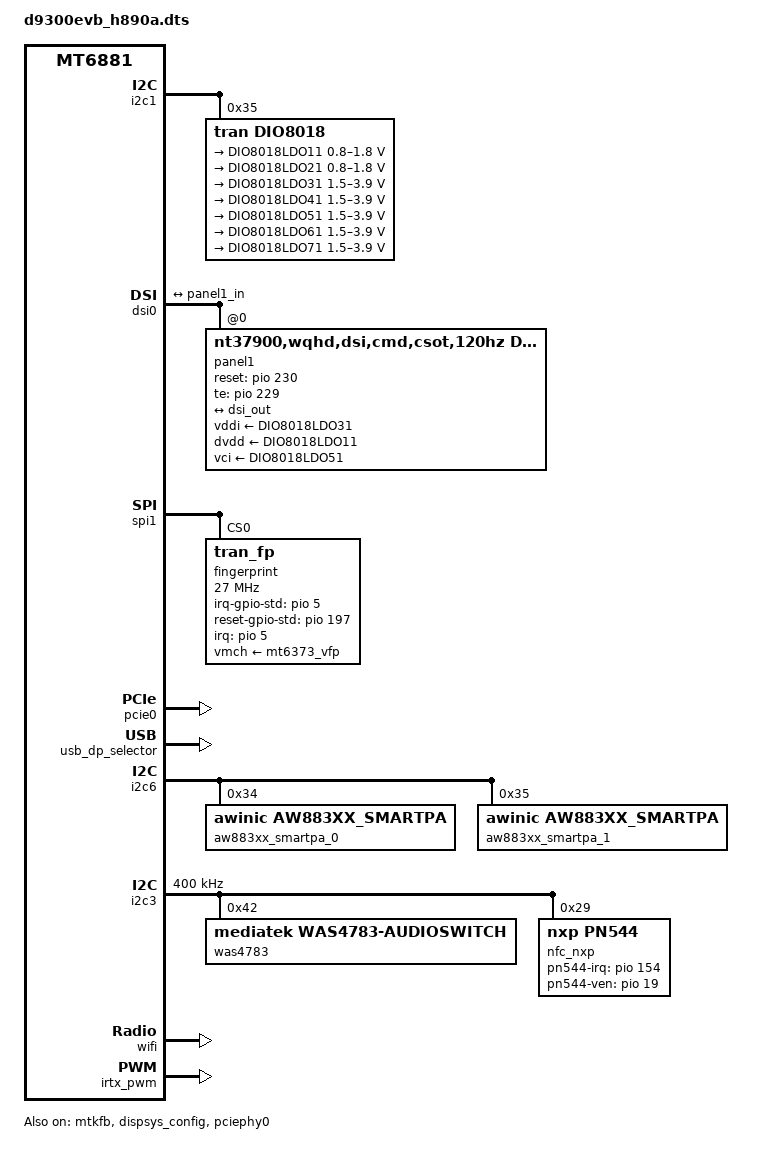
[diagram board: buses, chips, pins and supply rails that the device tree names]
// SPDX-License-Identifier: (GPL-2.0 OR MIT)
/*
 * Copyright (C) 2022 MediaTek Inc.
 */
/dts-v1/;
/plugin/;
#include <dt-bindings/interrupt-controller/arm-gic.h>
#include <dt-bindings/interrupt-controller/irq.h>
#include <dt-bindings/pinctrl/mt6989-pinfunc.h>
#include <dt-bindings/phy/phy.h>
#include <dt-bindings/iio/mt635x-auxadc.h>

&chosen {
bootargs_ext = "";

};

&md_auxadc{
    io-channels = <&pmic_adc (ADC_PURES_OPEN_MASK | AUXADC_VIN1)>;
};
&pdc {
	pd-vbus-upper-bound = <9000000>;
};

&mtk_leds {
	compatible = "mediatek,disp-leds";

	backlight {
		led-mode = <4>;
		gate-enable = <0>;
		pwm-config = <0 1 0 0 0>;
		max-brightness = <511>;
		min-brightness = <0>;
		max-hw-brightness = <511>;
	};
};

&pio {
	mtkfb_pins_lcm_rst_out1_gpio: lcm_rst_out1_gpio {
		pins_cmd_dat {
			pinmux = <PINMUX_GPIO230__FUNC_GPIO230>;
			slew-rate = <1>;
			output-high;
		};
	};

	mtkfb_pins_lcm_rst_out0_gpio: lcm_rst_out0_gpio {
		pins_cmd_dat {
			pinmux = <PINMUX_GPIO230__FUNC_GPIO230>;
			slew-rate = <1>;
			output-low;
		};
	};

/*
	mtkfb_pins_lcm_sub_rst_out1_gpio: lcm_sub_rst_out1_gpio {
		pins_cmd_dat {
			pinmux = <PINMUX_GPIO20__FUNC_GPIO20>;
			slew-rate = <1>;
			output-high;
		};
	};

	mtkfb_pins_lcm_sub_rst_out0_gpio: lcm_sub_rst_out0_gpio {
		pins_cmd_dat {
			pinmux = <PINMUX_GPIO20__FUNC_GPIO20>;
			slew-rate = <1>;
			output-low;
		};
	};
*/

	mtkfb_pins_lcm_dsi_te: lcm_dsi_te {
		pins_cmd_dat {
			pinmux = <PINMUX_GPIO229__FUNC_DSI_TE>;
		};
	};

/*
	mtkfb_pins_lcm_dsi1_te: lcm_dsi1_te {
		pins_cmd_dat {
			pinmux = <PINMUX_GPIO14__FUNC_DSI2_TE>;
		};
	};
*/
};

&mtkfb {
/*
	pinctrl-names = "lcm_rst_out1_gpio", "lcm_rst_out0_gpio",
		"lcm_sub_rst_out1_gpio", "lcm_sub_rst_out0_gpio",
		"mode_te_te", "mode_te_te1";
*/
	pinctrl-names = "lcm_rst_out1_gpio", "lcm_rst_out0_gpio", "mode_te_te";
	pinctrl-0 = <&mtkfb_pins_lcm_rst_out1_gpio>;
	pinctrl-1 = <&mtkfb_pins_lcm_rst_out0_gpio>;
	pinctrl-2 = <&mtkfb_pins_lcm_dsi_te>;
/*
	pinctrl-2 = <&mtkfb_pins_lcm_sub_rst_out1_gpio>;
	pinctrl-3 = <&mtkfb_pins_lcm_sub_rst_out0_gpio>;
	pinctrl-4 = <&mtkfb_pins_lcm_dsi_te>;
	pinctrl-5 = <&mtkfb_pins_lcm_dsi1_te>;
*/

	status = "okay";
};

&dispsys_config {
/*
	pinctrl-names = "lcm_rst_out1_gpio", "lcm_rst_out0_gpio",
		"lcm_sub_rst_out1_gpio", "lcm_sub_rst_out0_gpio",
		"mode_te_te", "mode_te_te1";
*/
	pinctrl-names = "lcm_rst_out1_gpio", "lcm_rst_out0_gpio", "mode_te_te";
	pinctrl-0 = <&mtkfb_pins_lcm_rst_out1_gpio>;
	pinctrl-1 = <&mtkfb_pins_lcm_rst_out0_gpio>;
	pinctrl-2 = <&mtkfb_pins_lcm_dsi_te>;
/*
	pinctrl-2 = <&mtkfb_pins_lcm_sub_rst_out1_gpio>;
	pinctrl-3 = <&mtkfb_pins_lcm_sub_rst_out0_gpio>;
	pinctrl-4 = <&mtkfb_pins_lcm_dsi_te>;
	pinctrl-5 = <&mtkfb_pins_lcm_dsi1_te>;
*/
	status = "okay";
};

&i2c1 {
	#address-cells = <1>;
	#size-cells = <0>;

	dio8018@35 {
	    compatible = "tran,dio8018";
	    reg = <0x35>;
	    regulators {
	        DIO8018LDO11:DIO8018LDO11 {
	            regulator-name = "DIO8018LDO11";
	            regulator-min-microvolt = <800000>;
	            regulator-max-microvolt = <1800000>;
	        };
	        DIO8018LDO21:DIO8018LDO21 {
	            regulator-name = "DIO8018LDO21";
	            regulator-min-microvolt = <800000>;
	            regulator-max-microvolt = <1800000>;
	        };
	        DIO8018LDO31:DIO8018LDO31 {
	            regulator-name = "DIO8018LDO31";
	            regulator-min-microvolt = <1500000>;
	            regulator-max-microvolt = <3900000>;
	        };
	        DIO8018LDO41:DIO8018LDO41 {
	            regulator-name = "DIO8018LDO41";
	            regulator-min-microvolt = <1500000>;
	            regulator-max-microvolt = <3900000>;
	        };
	        DIO8018LDO51:DIO8018LDO51 {
	            regulator-name = "DIO8018LDO51";
	            regulator-min-microvolt = <1500000>;
	            regulator-max-microvolt = <3900000>;
	        };
	        DIO8018LDO61:DIO8018LDO61 {
	            regulator-name = "DIO8018LDO61";
	            regulator-min-microvolt = <1500000>;
	            regulator-max-microvolt = <3900000>;
	        };
	        DIO8018LDO71:DIO8018LDO71 {
	            regulator-name = "DIO8018LDO71";
	            regulator-min-microvolt = <1500000>;
	            regulator-max-microvolt = <3900000>;
	        };
	    };
	};
};

&dsi0 {
	status = "okay";
	#address-cells = <1>;
	#size-cells = <0>;
	possible_crtcs = <3>;
	panel1@0 {
		compatible = "nt37900,wqhd,dsi,cmd,csot,120hz,d9300";
		reg = <0>;
		vddi-supply = <&DIO8018LDO31>; //1.8V
		dvdd-supply = <&DIO8018LDO11>; //1.35V
		vci-supply = <&DIO8018LDO51>; //3.0V
		reset-gpios = <&pio 230 0>;
		te-gpio = <&pio 229 0>;
		pinctrl-names = "default";
		port {
			panel1_in: endpoint {
				remote-endpoint = <&dsi_out>;
			};
		};
	};
	ports {
		port {
			dsi_out: endpoint {
				remote-endpoint = <&panel1_in>;
			};
		};
	};
};

/*
&dsi1 {
	status = "okay";
	#address-cells = <1>;
	#size-cells = <0>;
	possible_crtcs = <3>;
	panel2@0 {
		compatible = "ili7838e,fhdp,dsi,cmd,tm,tm,120hz,d9300";
		reg = <0>;
		//vddi-supply = <&ET5904LDO21>;
		//vdd-supply = <&ET5904LDO26>;
		//vci-supply = <&ET5904LDO46>;
		reset-gpios = <&pio 20 0>;
		te-gpio = <&pio 14 0>;
		pinctrl-names = "default";
		port {
			panel2_in: endpoint {
				remote-endpoint = <&dsi1_out>;
			};
		};
	};

	ports {
		port {
			dsi1_out: endpoint {
				remote-endpoint = <&panel2_in>;
			};
		};
	};
};

&dsi1_te {
	interrupt-parent = <&pio>;
	interrupts = <14 1 14 1>;
	status = "okay";
};
*/

&spi1 {
        fingerprint@0 {
        compatible = "tran_fp";
        reg = <0>;
        spi-max-frequency = <27000000>;
        interrupt-parent = <&pio>;
        interrupts = <5 1 5 0>;
        debounce = <5 0>;
        irq-gpio = <5>;
        irq-gpio-std = <&pio 5 0x0>;
        reset-gpio = <197>;
        reset-gpio-std = <&pio 197 0x0>;
        vmch-supply = <&mt6373_vfp>;
        goodix;
        pinctrl-names ="tran_fp_default",
        "tran_fp_pin_irq",
        "tran_fp_irq_pull_down",
        "tran_fp_reset_high",
        "tran_fp_reset_low",
        "tran_fp_spi_default";
        pinctrl-0 = <&fingerprint_default>;
        pinctrl-1 = <&fingerprint_eint>;
        pinctrl-2 = <&fingerprint_eint_pull_down>;
        pinctrl-3 = <&fingerprint_rst_one>;
        pinctrl-4 = <&fingerprint_rst_zero>;
        pinctrl-5 = <&fingerprint_spi_default>;
        status = "okay";
        };
};
&pio {
    fingerprint_default: fingerprint_default {
        };
    fingerprint_eint: gpio5_eint {
    pins_cmd_dat {
        pinmux = <PINMUX_GPIO5__FUNC_GPIO5>;
        slew-rate = <0>;
        bias-disable;
        };
    };
    fingerprint_eint_pull_down: gpio5_eint_pull_down {
    pins_cmd_dat {
        pinmux = <PINMUX_GPIO5__FUNC_GPIO5>;
        slew-rate = <0>;
        bias-pull-down = <00>;
        output-low;
        };
    };
    fingerprint_rst_one: rst_out_one {
    pins_cmd_dat {
        pinmux = <PINMUX_GPIO197__FUNC_GPIO197>;
        slew-rate = <1>;
        bias-disable;
        output-high;
        };
    };
    fingerprint_rst_zero: rst_out_zero {
    pins_cmd_dat {
        pinmux = <PINMUX_GPIO197__FUNC_GPIO197>;
        slew-rate = <1>;
        bias-disable;
        output-low;
        };
    };
    fingerprint_spi_default: spimode_default_fp {
    pins_cmd_dat {
        pinmux = <PINMUX_GPIO190__FUNC_SPI1_MI>,
        <PINMUX_GPIO188__FUNC_SPI1_CSB>,
        <PINMUX_GPIO189__FUNC_SPI1_MO>,
        <PINMUX_GPIO187__FUNC_SPI1_CLK>;
        drive-strength = <3>;
        };
    };
};

&connfem {
	/* Support Wifi & BT ePA/eLNA FEM on customer load */
	epa-elna {
		parts = <&qm42639 &qm45639>;
		common {
			flags-0 {
				rx-mode = [35];
				fe-ant-cnt = [82];
				fe-main-bt-share-lp2g = [81];
				fe-conn-spdt = [8F];
				fe-reserved = [86];
			};
		};
		wifi {
			flags-0 {
				epa-option = [aa];
				/* open-loop; */
			};
		};

		bt {
			flags-0 {
				/* choose one of: epa-elna/epa/elna/bypass */
				epa-elna;
			};
		};
	};
};
#if 0
/* GPS GPIO standardization start */
&pio {
	gps_pins_default: gps_default {
	};
	gps_l1_lna_pins_ol: gps-l1-lna0 {
		pins-cmd-dat {
			pinmux = <PINMUX_GPIO12__FUNC_GPIO12>;
			output-low;
		};
	};
	gps_l1_lna_pins_dsp_ctrl: gps-l1-lna1 {
		pins-cmd-dat {
			pinmux = <PINMUX_GPIO12__FUNC_GPS_L1_ELNA_EN>;
		};
	};
	gps_l1_lna_pins_oh: gps-l1-lna2 {
		pins-cmd-dat {
			pinmux = <PINMUX_GPIO12__FUNC_GPIO12>;
			output-high;
		};
	};
	gps_l5_lna_pins_ol: gps-l5-lna0 {
		pins-cmd-dat {
			pinmux = <PINMUX_GPIO13__FUNC_GPIO13>;
			output-low;
		};
	};
	gps_l5_lna_pins_dsp_ctrl: gps-l5-lna1 {
		pins-cmd-dat {
			pinmux = <PINMUX_GPIO13__FUNC_GPS_L5_ELNA_EN>;
		};
	};
	gps_l5_lna_pins_oh: gps-l5-lna2 {
		pins-cmd-dat {
			pinmux = <PINMUX_GPIO13__FUNC_GPIO13>;
			output-high;
		};
	};
};
&gps {
	pinctrl-names = "default",
		"gps_l1_lna_disable",
		"gps_l1_lna_dsp_ctrl",
		"gps_l1_lna_enable",
		"gps_l5_lna_disable",
		"gps_l5_lna_dsp_ctrl",
		"gps_l5_lna_enable";
	pinctrl-0 = <&gps_pins_default>;
	pinctrl-1 = <&gps_l1_lna_pins_ol>;
	pinctrl-2 = <&gps_l1_lna_pins_dsp_ctrl>;
	pinctrl-3 = <&gps_l1_lna_pins_oh>;
	pinctrl-4 = <&gps_l5_lna_pins_ol>;
	pinctrl-5 = <&gps_l5_lna_pins_dsp_ctrl>;
	pinctrl-6 = <&gps_l5_lna_pins_oh>;
	status = "okay";
};
/* GPS GPIO standardization end */
#endif

&pcie0 {
	pinctrl-names = "default", "sleep", "work";
	pinctrl-0 = <&pcie0_pins_default>;
	pinctrl-1 = <&pcie0_pins_sleep>;
	pinctrl-2 = <&pcie0_pins_work>;
	max-link-speed = <3>;
	status = "okay";
};

&pcie1 {
	pinctrl-names = "default";
	pinctrl-0 = <&pcie1_pins_default>;
	status = "disabled";
};

&pciephy0 {
	status = "okay";
};

&pciephy1 {
	status = "disabled";
};

/* PCIe pinmux start */
&pio {
	pcie0_pins_default: pcie0-default {
		pins-cmd-dat {
			pinmux = <PINMUX_GPIO143__FUNC_GPIO143>;
			output-low;
		};

		pins-cmd-dat1 {
			pinmux = <PINMUX_GPIO144__FUNC_GPIO144>,
				 <PINMUX_GPIO145__FUNC_GPIO145>;
			bias-pull-up;
			input-enable;
		};
	};

	pcie0_pins_work: pcie0-work {
		pins-cmd-dat {
			pinmux = <PINMUX_GPIO143__FUNC_PCIE_PERSTN>,
				 <PINMUX_GPIO145__FUNC_PCIE_CLKREQN>;
			bias-pull-up;
		};

		pins-cmd-dat1 {
			pinmux = <PINMUX_GPIO144__FUNC_GPIO144>;
			bias-pull-down;
			input-enable;
		};
	};

	pcie0_pins_sleep: pcie0-sleep {
		pins-cmd-dat {
			pinmux = <PINMUX_GPIO143__FUNC_GPIO143>;
			output-low;
		};

		pins-cmd-dat1 {
			pinmux = <PINMUX_GPIO144__FUNC_GPIO144>,
				 <PINMUX_GPIO145__FUNC_GPIO145>;
			bias-pull-up;
			input-enable;
		};
	};

	pcie1_pins_default: pcie1-default {
		pins-cmd-dat {
			pinmux = <PINMUX_GPIO2__FUNC_PCIE_CLKREQN_P1>,
				 <PINMUX_GPIO3__FUNC_PCIE_WAKEN_P1>,
				 <PINMUX_GPIO4__FUNC_PCIE_PERSTN_P1>;
			bias-pull-up;
		};
	};
};
/* PCIe pinmux end */

/* usb typec mux start */

&mt6375_typec {
	port {
		tcpc_typec_usb: endpoint {
			remote-endpoint = <&ssusb_mux>;
		};
	};
};

&typec_mux_switch {
	orientation-switch;
	mode-switch;
	accessory;
	port {
		ssusb_mux: endpoint {
			remote-endpoint = <&tcpc_typec_usb>;
		};
	};
};

#if 0
&ps5170 {
	pinctrl-names = "enable", "disable";
	pinctrl-0 = <&ps_enable>;
	pinctrl-1 = <&ps_disable>;
	status = "okay";
};

&pio {

	ps_enable: ps-enable {
		pins-cmd-dat {
			pinmux = <PINMUX_GPIO34__FUNC_GPIO34>;
			output-high;
		};
	};

	ps_disable: ps-disable {
		pins-cmd-dat {
			pinmux = <PINMUX_GPIO34__FUNC_GPIO34>;
			output-low;
		};
	};

};
#endif

&ssusb {
	maximum-speed = "super-speed";
};

&usb_dp_selector {
	status = "okay";
};
/* usb typec mux end */

#if 0
&pdc {
	pd_vbus_upper_bound = <12000000>;
};
#endif

&i2c6 {
	aw883xx_smartpa_0: aw883xx@34 {
		compatible = "awinic,aw883xx_smartpa";
		#sound-dai-cells = <0>;
		reg = <0x34>;
		#reset-gpio = <&pio 140 0x0>;
		#irq-gpio = <&pio 37 0x0>;
		sync-load = <1>;
		sound-channel = <0>;
		re-min = <1000>;
		re-max= <40000>;
		status = "okay";
	};
	aw883xx_smartpa_1: aw883xx@35 {
		compatible = "awinic,aw883xx_smartpa";
		#sound-dai-cells = <0>;
		reg = <0x35>;
		#reset-gpio = <&pio 139 0x0>;
		#irq-gpio = <&pio 19 0x0>;
		sync-load = <1>;
		sound-channel = <1>;
		re-min = <1000>;
		re-max= <40000>;
		status = "okay";
	};
};

&i2c3 {
	was4783: was4783@42 {
		status = "ok";
		compatible = "mediatek,was4783-audioswitch";
		reg = <0x42>;
	};
};

&i2c3 {
       clock-frequency = <400000>;
       nfc_nxp@29 {
               compatible = "nxp,pn544";
               reg = <0x29>;
               nxp,pn544-irq = <&pio 154 0x0>;
               nxp,pn544-ven = <&pio 19 0x0>;
       };
};

&sound {
	mediatek,spk-i2s = <21 20>;
	mediatek,speaker-codec {
		sound-dai = <&aw883xx_smartpa_0 &aw883xx_smartpa_1>;
	};
};

&wifi {
	flavor-bin = "dx3";
};

&bt {
	flavor-bin = "dx3";
};

&mt6363_vbuck5 {
	regulator-always-on;
};

&mt6363_vbuck6 {
	regulator-always-on;
};

&mt6363_vsram_digrf {
	regulator-always-on;
};

&mt6363_vsram_modem {
	regulator-always-on;
};

&mt6363_vcn15 {
	regulator-always-on;
};

&irtx_pwm {
	pwm_ch = <0>;
	status = "okay";
};

#include "mediatek/charge/d9300evb_h890a/cps4021.dtsi"
#include "mediatek/charge/d9300evb_h890a/sc8548.dtsi"
#include "mediatek/charge/d9300evb_h890a/tran_usb_ctrl.dtsi"
#include "mediatek/charge/d9300evb_h890a/fuel_gauge.dtsi"
#include "mediatek/charge/d9300evb_h890a/tc_pe50.dtsi"
#include "mediatek/charge/d9300evb_h890a/protocol_ta.dtsi"
#include "mediatek/charge/d9300evb_h890a/tc_charger.dtsi"
#include "mediatek/charge/d9300evb_h890a/tc_charger_lk.dtsi"
#include "sensor/tran_mt6881_d9300evb_h890a_sensor.dtsi"
#include <d9300evb_h890a/cust.dtsi>
#include "mediatek/cust_k6989_connfem.dtsi"
#include "mediatek/tc_led.dtsi"
#include "mediatek/touch/d9300evb_h890a/tran_mt6989_touch.dtsi"
#include "mediatek/msdc/d9300evb_h890a/cust_mt6989_msdc.dtsi"
#include "mediatek/camera/d9300evb/cust_mt6989_camera_v4l2.dtsi"
/*End of this file, DO NOT ADD ANYTHING HERE*/
